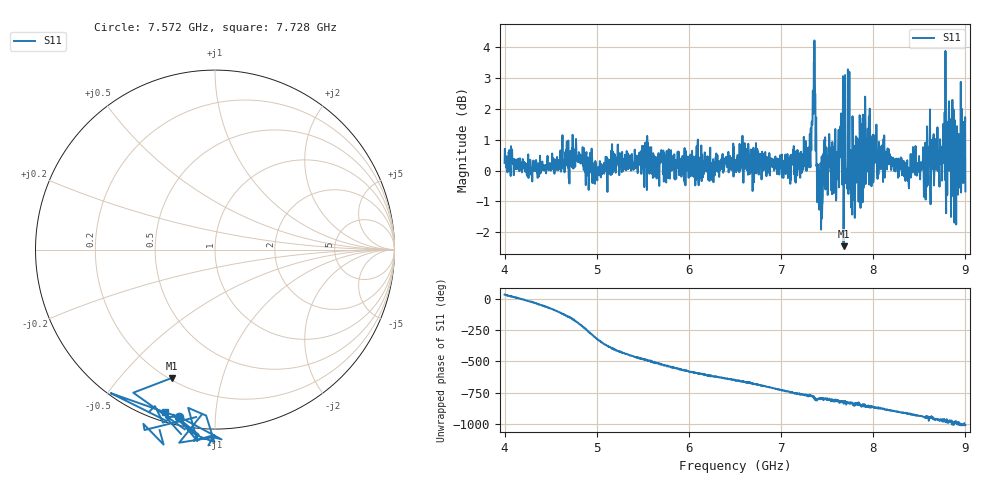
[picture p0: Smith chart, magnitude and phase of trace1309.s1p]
! Created with skrf 1.8.0 (http://scikit-rf.org).
# Hz S RI R 50.0
!freq ReS11 ImS11
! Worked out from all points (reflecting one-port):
!   1601 points, 4 GHz to 9 GHz, reference 50 ohm
!   lowest |S11| = -2.5 dB at 7.678 GHz (marker M1), VSWR 7.12, Z = 10.6 - j34.9 ohm
!   phase of S11 starts at 34 deg and turns -1044 deg over the sweep
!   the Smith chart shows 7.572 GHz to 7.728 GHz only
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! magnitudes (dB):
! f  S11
! 4 GHz  0.3
! 4.625 GHz  0.6
! 4.753 GHz  0.3
! 4.991 GHz  0.2
! 5.25 GHz  0.6
! 5.875 GHz  0.3
! 6.5 GHz  0.3
! 7.125 GHz  0.4
! 7.294 GHz  0.7
! 7.356 GHz  3.5
! 7.381 GHz  1.7
! 7.4 GHz  0.2
! 7.428 GHz  0.2
! 7.509 GHz  -0.3
! 7.588 GHz  1.3
! 7.65 GHz  1.9
! 7.678 GHz  -2.5
! 7.75 GHz  -0.6
! 7.775 GHz  1.8
! 7.928 GHz  1.0
! 7.981 GHz  -0.5
! 8.134 GHz  0.3
! 8.375 GHz  0.0
! 8.728 GHz  0.3
! 8.8 GHz  1.1
! 8.906 GHz  -0.1
! 8.972 GHz  0.9
! 9 GHz  -0.7
